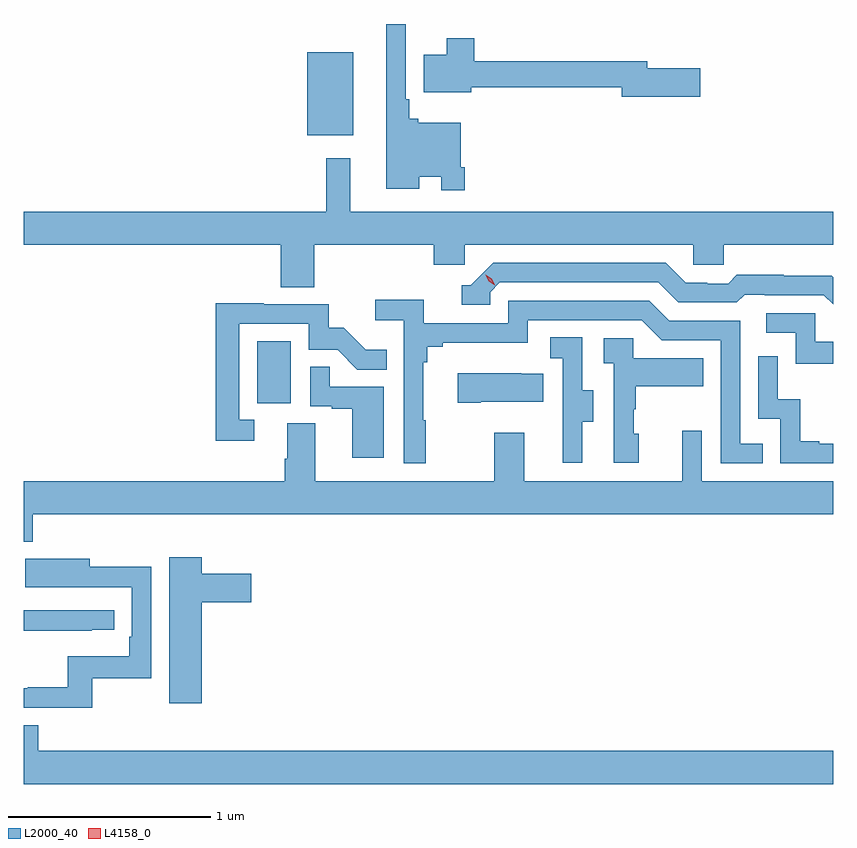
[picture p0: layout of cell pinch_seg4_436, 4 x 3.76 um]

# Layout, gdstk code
import gdstk
lib = gdstk.Library(unit=1e-6, precision=1e-09)
def R(c, l, rs):  # rectangles x0, y0, x1, y1
    for r in rs: c.add(gdstk.rectangle(r[:2], r[2:], *l))
def P(c, l, *ps):  # polygons
    for p in ps: c.add(gdstk.Polygon(p, *l))
L2000_40 = (2000, 40)
L4158_0 = (4158, 0)

pinch_seg4_436 = lib.new_cell('pinch_seg4_436')
R(pinch_seg4_436, L2000_40, [(928.112,777.39,928.276,777.697), (928.358,778.715,928.585,779.125)])
P(pinch_seg4_436, L2000_40, [(929.138,778.555),(929.118,778.555),(929.118,778.777),(928.908,778.777),(928.908,778.795),(928.862,778.795),(928.862,778.891),(928.845,778.891),(928.845,779.264),(928.748,779.264),(928.748,778.451),(928.912,778.451),(928.912,778.508),(929.022,778.508),(929.022,778.443),(929.138,778.443)],
  [(930.301,779.046),(930.04,779.046),(930.04,779.08),(929.183,779.08),(929.183,779.194),(929.048,779.194),(929.048,779.113),(928.935,779.113),(928.935,778.926),(929.17,778.926),(929.17,778.951),(929.912,778.951),(929.912,778.904),(930.301,778.904)],
  [(928.394,778.172),(928.985,778.172),(928.985,778.074),(929.136,778.074),(929.136,778.172),(930.267,778.172),(930.267,778.074),(930.417,778.074),(930.417,778.172),(930.958,778.172),(930.958,778.336),(928.571,778.336),(928.571,778.6),(928.453,778.6),(928.453,778.336),(926.958,778.336),(926.958,778.172),(928.229,778.172),(928.229,777.964),(928.394,777.964)],
  [(929.262,777.939),(929.31,777.987),(930.093,777.987),(930.192,777.888),(930.481,777.888),(930.52,777.927),(930.619,777.927),(930.619,777.924),(930.912,777.924),(930.958,777.878),(930.958,778.013),(930.95,778.021),(930.714,778.021),(930.714,778.024),(930.481,778.024),(930.439,777.981),(930.336,777.981),(930.336,777.984),(930.229,777.984),(930.13,778.083),(929.277,778.083),(929.166,777.972),(929.123,777.972),(929.123,777.876),(929.262,777.876)],
  [(928.945,777.305),(928.933,777.305),(928.933,777.593),(928.952,777.593),(928.952,777.67),(929.029,777.67),(929.029,777.689),(929.448,777.689),(929.448,777.801),(930.012,777.801),(930.111,777.702),(930.402,777.702),(930.402,777.093),(930.611,777.093),(930.611,777.189),(930.498,777.189),(930.498,777.798),(930.148,777.798),(930.049,777.897),(929.352,777.897),(929.352,777.786),(928.934,777.786),(928.934,777.902),(928.695,777.902),(928.695,777.8),(928.836,777.8),(928.836,777.093),(928.945,777.093)],
  [(928.096,777.309),(928.023,777.309),(928.023,777.783),(928.365,777.783),(928.365,777.654),(928.509,777.654),(928.607,777.556),(928.751,777.556),(928.751,777.655),(928.647,777.655),(928.54,777.762),(928.464,777.762),(928.464,777.879),(928.145,777.879),(928.145,777.884),(927.907,777.884),(927.907,777.204),(928.096,777.204)],
  [(930.958,777.693),(930.87,777.693),(930.87,777.834),(930.627,777.834),(930.627,777.738),(930.774,777.738),(930.774,777.585),(930.958,777.585)],
  [(929.719,777.298),(929.773,777.298),(929.773,777.453),(929.718,777.453),(929.718,777.716),(929.559,777.716),(929.559,777.613),(929.622,777.613),(929.622,777.309),(929.621,777.309),(929.621,777.096),(929.719,777.096)],
  [(929.998,777.24),(929.973,777.24),(929.973,777.359),(929.983,777.359),(929.983,777.473),(930.317,777.473),(930.317,777.613),(929.97,777.613),(929.97,777.711),(929.823,777.711),(929.823,777.587),(929.874,777.587),(929.874,777.096),(929.998,777.096)],
  [(930.958,777.189),(930.889,777.189),(930.889,777.202),(930.794,777.202),(930.794,777.41),(930.684,777.41),(930.684,777.622),(930.588,777.622),(930.588,777.312),(930.696,777.312),(930.696,777.093),(930.958,777.093)],
  [(928.738,777.471),(928.469,777.471),(928.469,777.569),(928.374,777.569),(928.374,777.375),(928.481,777.375),(928.481,777.363),(928.58,777.363),(928.58,777.12),(928.738,777.12)],
  [(929.215,777.398),(929.525,777.398),(929.525,777.535),(929.417,777.535),(929.417,777.538),(929.103,777.538),(929.103,777.391),(929.215,777.391)],
  [(927.002,776.84),(930.958,776.84),(930.958,777.004),(930.309,777.004),(930.309,777.253),(930.212,777.253),(930.212,777.004),(929.431,777.004),(929.431,777.244),(929.284,777.244),(929.284,777.004),(928.399,777.004),(928.399,777.29),(928.259,777.29),(928.259,777.116),(928.247,777.116),(928.247,777.004),(926.958,777.004),(926.958,776.705),(927.002,776.705)],
  [(927.838,776.405),(928.081,776.405),(928.081,776.547),(927.838,776.547),(927.838,776.629),(927.677,776.629),(927.677,775.908),(927.838,775.908)],
  [(927.295,776.031),(927.588,776.031),(927.588,776.582),(927.283,776.582),(927.283,776.62),(926.965,776.62),(926.965,776.48),(927.179,776.48),(927.179,776.481),(927.492,776.481),(927.492,776.236),(927.479,776.236),(927.479,776.14),(927.174,776.14),(927.174,775.985),(926.977,775.985),(926.977,775.98),(926.958,775.98),(926.958,775.884),(927.295,775.884)],
  [(927.293,776.271),(927.406,776.271),(927.406,776.367),(926.958,776.367),(926.958,776.266),(927.293,776.266)],
  [(930.958,775.672),(927.029,775.672),(927.029,775.799),(926.958,775.799),(926.958,775.508),(930.958,775.508)])
P(pinch_seg4_436, L4158_0, [(929.286,777.973),(929.256,777.993),(929.24,778.026),(929.24,778.026),(929.24,778.026),(929.271,778.006),(929.286,777.973),(929.286,777.973)])

lib.write_gds('pinch_seg4_436.gds')
